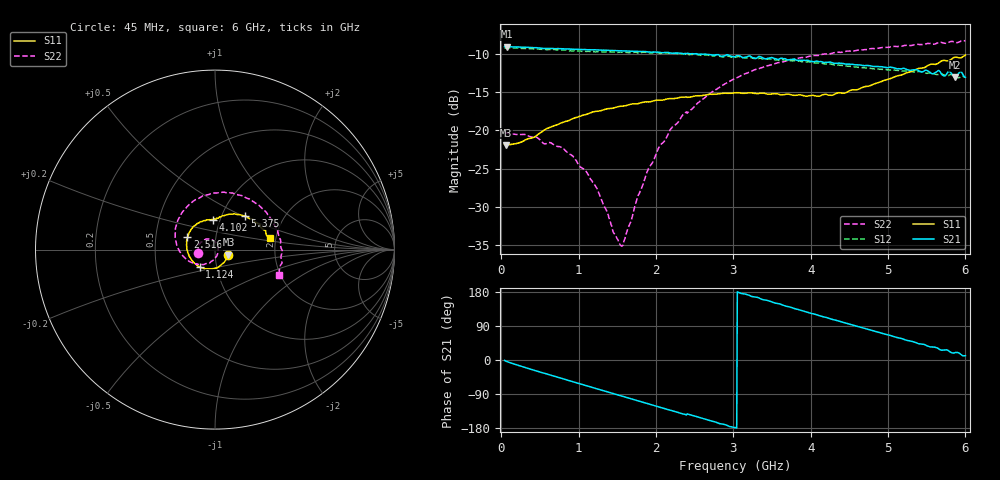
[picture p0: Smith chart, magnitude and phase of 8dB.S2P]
! C:\Users\Aljaz\OneDrive - Univerza v Ljubljani\DOKTORAT\NOVI SA\Slabilec PE43711B\meritve\prototip2\8dB.S2P
! Touchstone 1.1 file saved by VNA.EXE V1.65 (www.ke5fx.com/gpib/readme.htm)
! 18. 04. 2022 18:04:51
!  Source: HP8510C.07.14: Aug 26  1998
!  Min freq: 4.500000E+007 Hz
!  Max freq: 6.000000E+009 Hz
!  Points: 801
!  Params: S11 S21 S12 S22
# GHZ S DB R 50
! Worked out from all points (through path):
!   801 points, 45 MHz to 6 GHz, reference 50 ohm
!   highest |S21| = -9.07 dB at 74.78 MHz (marker M1); lowest = -13.1 dB at 5.866 GHz (marker M2)
!   group delay of S21, straight-line fit = 161 ps
!   lowest |S11| = -21.9 dB at 67.33 MHz (marker M3), VSWR 1.17, Z = 58 - j3.33 ohm
!   |S11| at or under -10 dB: start of sweep to end of sweep
!   |S22| runs from -35.2 to -8.3 dB; largest |S21 - S12| = 0.022
!   S11 on the Smith chart (normalised r, x): 45 MHz: 1.16, -0.07; 1.124 GHz: 0.83, -0.16; 2.516 GHz: 0.73, +0.10; 4.102 GHz: 0.93, +0.32; 5.375 GHz: 1.29, +0.52; 6 GHz: 1.85, +0.26
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0.045  -21.85 -21.5  -9.08 -1.2  -9.27 -1.2  -20.16 -167.8
0.06733125  -21.93 -20.9  -9.08 -3.4  -9.26 -3.4  -20.35 -174.1
0.074775  -21.91 -21.3  -9.07 -4.1  -9.25 -4.0  -20.36 -175.6
0.7744875  -19.05 -103.5  -9.34 -48.1  -9.50 -48.0  -22.20 130.8
1.042463  -18.07 -125.3  -9.45 -64.2  -9.69 -64.1  -24.90 108.0
1.124344  -17.84 -131.6  -9.47 -69.0  -9.68 -68.9  -25.77 101.0
1.243444  -17.52 -139.3  -9.50 -76.2  -9.72 -75.7  -27.74 86.8
1.466756  -17.05 -153.5  -9.58 -89.5  -9.77 -88.9  -33.58 36.2
1.556081  -16.84 -158.1  -9.62 -94.8  -9.80 -94.0  -35.15 -3.7
1.883606  -16.29 -174.8  -9.74 -114.5  -9.85 -113.9  -25.52 -93.3
2.032481  -16.05 178.2  -9.78 -123.4  -9.87 -122.7  -22.37 -110.6
2.211131  -15.86 170.0  -9.91 -134.0  -9.94 -133.2  -19.59 -126.6
2.516325  -15.51 156.1  -9.99 -148.8  -10.02 -149.5  -16.69 -150.1
3.0225  -15.11 132.9  -10.36 -178.2  -10.46 -178.9  -13.23 171.2
3.454238  -15.27 114.6  -10.58 156.4  -10.68 155.8  -11.52 140.2
4.019963  -15.44 95.8  -11.02 122.5  -11.12 121.9  -10.24 102.3
4.101844  -15.55 93.5  -11.02 117.7  -11.23 117.5  -10.21 97.0
4.496363  -14.86 82.8  -11.36 95.1  -11.65 94.9  -9.64 72.4
5.009981  -13.31 66.1  -11.78 66.1  -12.12 66.6  -9.14 40.2
5.374725  -11.99 48.3  -12.09 44.6  -12.40 46.9  -8.76 17.5
5.866013  -10.45 20.7  -13.08 19.3  -12.99 18.5  -8.48 -13.0
6  -10.16 11.9  -13.08 11.3  -13.07 12.9  -8.35 -21.6
